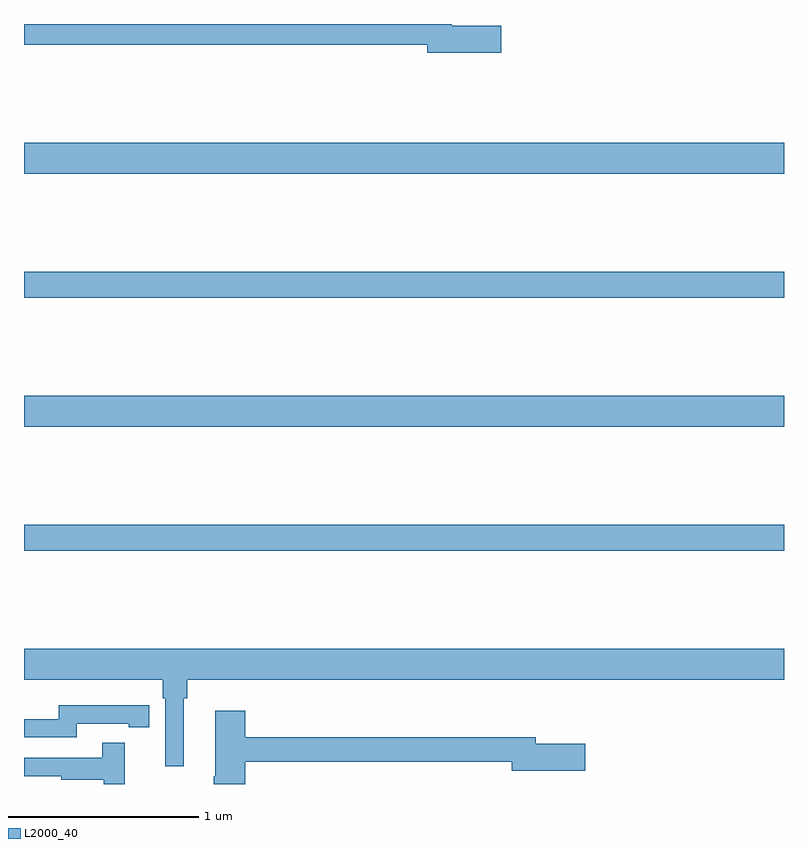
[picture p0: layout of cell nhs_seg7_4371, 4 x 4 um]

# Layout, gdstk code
import gdstk
lib = gdstk.Library(unit=1e-6, precision=1e-09)
def R(c, l, rs):  # rectangles x0, y0, x1, y1
    for r in rs: c.add(gdstk.rectangle(r[:2], r[2:], *l))
def P(c, l, *ps):  # polygons
    for p in ps: c.add(gdstk.Polygon(p, *l))
L2000_40 = (2000, 40)

nhs_seg7_4371 = lib.new_cell('nhs_seg7_4371')
R(nhs_seg7_4371, L2000_40, [(385,1069.228,389,1069.364), (385,1069.88,389,1070.044), (385,1070.56,389,1070.696), (385,1071.212,389,1071.376)])
P(nhs_seg7_4371, L2000_40, [(387.511,1071.992),(387.25,1071.992),(387.25,1072),(385,1072),(385,1071.892),(387.122,1071.892),(387.122,1071.85),(387.511,1071.85)],
  [(385.84,1068.452),(385.859,1068.452),(385.859,1068.548),(389,1068.548),(389,1068.712),(385,1068.712),(385,1068.548),(385.73,1068.548),(385.73,1068.452),(385.743,1068.452),(385.743,1068.093),(385.84,1068.093)],
  [(385.278,1068.318),(385.55,1068.318),(385.55,1068.298),(385.658,1068.298),(385.658,1068.414),(385.55,1068.414),(385.55,1068.415),(385.182,1068.415),(385.182,1068.342),(385,1068.342),(385,1068.246),(385.278,1068.246)],
  [(386.165,1068.118),(387.566,1068.118),(387.566,1068.071),(387.955,1068.071),(387.955,1068.213),(387.694,1068.213),(387.694,1068.247),(386.165,1068.247),(386.165,1068.385),(386.006,1068.385),(386.006,1068.041),(385.999,1068.041),(385.999,1068),(386.165,1068)],
  [(385.529,1068.217),(385.411,1068.217),(385.411,1068.138),(385,1068.138),(385,1068.042),(385.195,1068.042),(385.195,1068.022),(385.419,1068.022),(385.419,1068),(385.529,1068)])

lib.write_gds('nhs_seg7_4371.gds')
